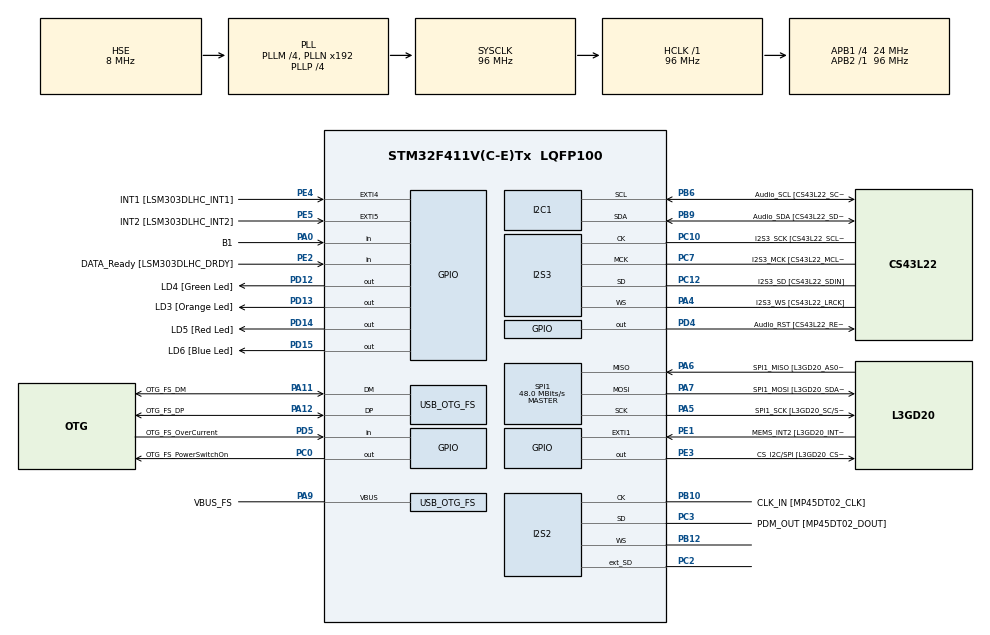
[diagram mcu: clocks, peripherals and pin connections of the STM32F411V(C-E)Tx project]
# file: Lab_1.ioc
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I2S2.AudioFreq=I2S_AUDIOFREQ_96K
I2S2.ErrorAudioFreq=0.15 %
I2S2.FullDuplexMode=I2S_FULLDUPLEXMODE_ENABLE
I2S2.Instance=SPI$Index
I2S2.RealAudioFreq=96.153 KHz
I2S2.VirtualMode=I2S_MODE_MASTER
I2S3.AudioFreq=I2S_AUDIOFREQ_96K
I2S3.ErrorAudioFreq=-6.99 %
I2S3.FullDuplexMode=I2S_FULLDUPLEXMODE_DISABLE
I2S3.Instance=SPI$Index
I2S3.RealAudioFreq=89.285 KHz
I2S3.VirtualMode=I2S_MODE_MASTER
Mcu.Family=STM32F4
Mcu.Name=STM32F411V(C-E)Tx
Mcu.Package=LQFP100
NVIC.OTG_FS_IRQn=true\:0\:0\:false\:false\:true\:true\:true\:true
NVIC.PriorityGroup=NVIC_PRIORITYGROUP_0
PA0-WKUP.GPIO_Label=B1
PA0-WKUP.Signal=GPIO_Input
PA10.GPIO_Label=OTG_FS_ID
PA10.Signal=USB_OTG_FS_ID
PA11.GPIO_Label=OTG_FS_DM
PA11.Mode=Host_Only
PA11.Signal=USB_OTG_FS_DM
PA12.GPIO_Label=OTG_FS_DP
PA12.Mode=Host_Only
PA12.Signal=USB_OTG_FS_DP
PA13.GPIO_Label=SWDIO
PA13.Mode=Serial_Wire
PA13.Signal=SYS_JTMS-SWDIO
PA14.GPIO_Label=SWCLK
PA14.Mode=Serial_Wire
PA14.Signal=SYS_JTCK-SWCLK
PA4.GPIO_Label=I2S3_WS [CS43L22_LRCK]
PA4.GPIO_Mode=GPIO_MODE_AF_PP
PA4.GPIO_PuPd=GPIO_NOPULL
PA4.GPIO_Speed=GPIO_SPEED_FREQ_LOW
PA4.Mode=Half_Duplex_Master
PA4.Signal=I2S3_WS
PA5.GPIO_Label=SPI1_SCK [L3GD20_SC/SPC]
PA5.Mode=Full_Duplex_Master
PA5.Signal=SPI1_SCK
PA6.GPIO_Label=SPI1_MISO [L3GD20_AS0/SDO]
PA6.Mode=Full_Duplex_Master
PA6.Signal=SPI1_MISO
PA7.GPIO_Label=SPI1_MOSI [L3GD20_SDA/SDI/SDO]
PA7.Mode=Full_Duplex_Master
PA7.Signal=SPI1_MOSI
PA9.GPIO_Label=VBUS_FS
PA9.Mode=Activate_VBUS
PA9.Signal=USB_OTG_FS_VBUS
PB10.GPIO_Label=CLK_IN [MP45DT02_CLK]
PB10.Mode=Full_Duplex_Master
PB10.Signal=I2S2_CK
PB12.Mode=Full_Duplex_Master
PB12.Signal=I2S2_WS
PB3.GPIO_Label=SWO
PB3.Signal=SYS_JTDO-SWO
PB6.GPIO_Label=Audio_SCL [CS43L22_SCL]
PB6.GPIO_Mode=GPIO_MODE_AF_OD
PB6.GPIO_Pu=GPIO_PULLUP
PB6.GPIO_PuPd=GPIO_NOPULL
PB6.GPIO_Speed=GPIO_SPEED_FREQ_LOW
PB6.Mode=I2C
PB6.Signal=I2C1_SCL
PB9.GPIO_Label=Audio_SDA [CS43L22_SDA]
PB9.GPIO_Mode=GPIO_MODE_AF_OD
PB9.GPIO_Pu=GPIO_PULLUP
PB9.GPIO_PuPd=GPIO_NOPULL
PB9.GPIO_Speed=GPIO_SPEED_FREQ_LOW
PB9.Mode=I2C
PB9.Signal=I2C1_SDA
PC0.GPIO_Label=OTG_FS_PowerSwitchOn
PC0.PinState=GPIO_PIN_SET
PC0.Signal=GPIO_Output
PC10.GPIO_Label=I2S3_SCK [CS43L22_SCLK]
PC10.GPIO_Mode=GPIO_MODE_AF_PP
PC10.GPIO_PuPd=GPIO_NOPULL
PC10.GPIO_Speed=GPIO_SPEED_FREQ_LOW
PC10.Mode=Half_Duplex_Master
PC10.Signal=I2S3_CK
PC12.GPIO_Label=I2S3_SD [CS43L22_SDIN]
PC12.GPIO_Mode=GPIO_MODE_AF_PP
PC12.GPIO_PuPd=GPIO_NOPULL
PC12.GPIO_Speed=GPIO_SPEED_FREQ_LOW
PC12.Mode=Half_Duplex_Master
PC12.Signal=I2S3_SD
PC14-OSC32_IN.GPIO_Label=PC14-OSC32_IN
PC14-OSC32_IN.Signal=RCC_OSC32_IN
PC15-OSC32_OUT.GPIO_Label=PC15-OSC32_OUT
PC15-OSC32_OUT.Signal=RCC_OSC32_OUT
PC2.Mode=Full_Duplex_Master
PC2.Signal=I2S2_ext_SD
PC3.GPIO_Label=PDM_OUT [MP45DT02_DOUT]
PC3.Mode=Full_Duplex_Master
PC3.Signal=I2S2_SD
PC7.GPIO_Label=I2S3_MCK [CS43L22_MCLK]
PC7.GPIO_Mode=GPIO_MODE_AF_PP
PC7.GPIO_PuPd=GPIO_NOPULL
PC7.GPIO_Speed=GPIO_SPEED_FREQ_LOW
PC7.Mode=Master_Clock_Activated
PC7.Signal=I2S3_MCK
PD12.GPIO_Label=LD4 [Green Led]
PD12.GPIO_PuPd=GPIO_NOPULL
PD12.GPIO_Speed=GPIO_SPEED_FREQ_LOW
PD12.Signal=GPIO_Output
PD13.GPIO_Label=LD3 [Orange Led]
PD13.GPIO_PuPd=GPIO_NOPULL
PD13.GPIO_Speed=GPIO_SPEED_FREQ_LOW
PD13.Signal=GPIO_Output
PD14.GPIO_Label=LD5 [Red Led]
PD14.GPIO_PuPd=GPIO_NOPULL
PD14.GPIO_Speed=GPIO_SPEED_FREQ_LOW
PD14.Signal=GPIO_Output
PD15.GPIO_Label=LD6 [Blue Led]
PD15.GPIO_PuPd=GPIO_NOPULL
PD15.GPIO_Speed=GPIO_SPEED_FREQ_LOW
PD15.Signal=GPIO_Output
PD4.GPIO_Label=Audio_RST [CS43L22_RESET]
PD4.Signal=GPIO_Output
PD5.GPIO_Label=OTG_FS_OverCurrent
PD5.Signal=GPIO_Input
PE1.GPIO_Label=MEMS_INT2 [L3GD20_INT2]
PE1.GPIO_ModeDefaultEXTI=GPIO_MODE_EVT_RISING
PE1.Signal=GPXTI1
PE2.GPIO_Label=DATA_Ready [LSM303DLHC_DRDY]
PE2.Signal=GPIO_Input
PE3.GPIO_Label=CS_I2C/SPI [L3GD20_CS_I2C/SPI]
PE3.Signal=GPIO_Output
PE4.GPIO_Label=INT1 [LSM303DLHC_INT1]
PE4.GPIO_ModeDefaultEXTI=GPIO_MODE_EVT_RISING
PE4.Signal=GPXTI4
PE5.GPIO_Label=INT2 [LSM303DLHC_INT2]
PE5.GPIO_ModeDefaultEXTI=GPIO_MODE_EVT_RISING
PE5.Signal=GPXTI5
PH0\ -\ OSC_IN.GPIO_Label=PH0-OSC_IN
PH0\ -\ OSC_IN.Mode=HSE-External-Oscillator
PH0\ -\ OSC_IN.Signal=RCC_OSC_IN
PH1\ -\ OSC_OUT.GPIO_Label=PH1-OSC_OUT
PH1\ -\ OSC_OUT.Mode=HSE-External-Oscillator
PH1\ -\ OSC_OUT.Signal=RCC_OSC_OUT
ProjectManager.HeapSize=0x200
ProjectManager.StackSize=0x400
ProjectManager.TargetToolchain=STM32CubeIDE
RCC.48MHZClocksFreq_Value=48000000
RCC.AHBFreq_Value=96000000
RCC.APB1CLKDivider=RCC_HCLK_DIV4
RCC.APB1Freq_Value=24000000
RCC.APB1TimFreq_Value=48000000
RCC.APB2Freq_Value=96000000
RCC.APB2TimFreq_Value=96000000
RCC.CortexFreq_Value=96000000
RCC.HCLKFreq_Value=96000000
RCC.HSE_VALUE=8000000
RCC.HSI_VALUE=16000000
RCC.LSE_VALUE=32768
RCC.PLLI2SM=5
RCC.PLLI2SN=200
RCC.PLLM=4
RCC.PLLP=RCC_PLLP_DIV4
RCC.PLLQ=8
RCC.SYSCLKFreq_VALUE=96000000
RCC.SYSCLKSource=RCC_SYSCLKSOURCE_PLLCLK
RCC.VCOOutputFreq_Value=384000000
SPI1.BaudRatePrescaler=SPI_BAUDRATEPRESCALER_2
SPI1.CalculateBaudRate=48.0 MBits/s
SPI1.Direction=SPI_DIRECTION_2LINES
SPI1.Mode=SPI_MODE_MASTER
SPI1.VirtualType=VM_MASTER
USB_HOST.BSP.number=1
USB_HOST.USBH_HandleTypeDef=hUsbHostFS
USB_HOST.VirtualModeFS=Cdc
USB_HOST0.BSP.STBoard=false
USB_HOST0.BSP.api=Unknown
USB_HOST0.BSP.instance=PC0
USB_HOST0.BSP.ip=GPIO
USB_HOST0.BSP.mode=Output
USB_HOST0.BSP.name=Drive_VBUS_FS
USB_HOST0.BSP.solution=PC0
USB_OTG_FS.VirtualMode=Host_Only
USB_OTG_FS.phy_itface=HCD_PHY_EMBEDDED
VP_USB_HOST_VS_USB_HOST_CDC_FS.Mode=CDC_FS
board=STM32F411E-DISCO

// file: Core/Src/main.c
/* USER CODE BEGIN Header */
/**
  ******************************************************************************
  * @file           : main.c
  * @brief          : Main program body
  ******************************************************************************
  * @attention
  *
  * Copyright (c) 2023 STMicroelectronics.
  * All rights reserved.
  *
  * This software is licensed under terms that can be found in the LICENSE file
  * in the root directory of this software component.
  * If no LICENSE file comes with this software, it is provided AS-IS.
  *
  ******************************************************************************
  */
/* USER CODE END Header */
#include "main.h"
#include "usb_host.h"

/* USER CODE BEGIN Includes */
#include "arm_math.h"
#include <inttypes.h>
/* USER CODE END Includes */

/* USER CODE BEGIN PM */
#define ITM_Port32(n) (*((volatile unsigned long *)(0xE0000000+4*n)))
/* USER CODE END PM */

I2C_HandleTypeDef hi2c1;

I2S_HandleTypeDef hi2s2;
I2S_HandleTypeDef hi2s3;

SPI_HandleTypeDef hspi1;

/* USER CODE BEGIN PV */
/* This is the start address of where we are going to put our input data */
#define DATA_START_ADDRESS	0x08020000

/* For this lab, we should know in advance how many samples we have to process... */
#define NUMBER_OF_SAMPLES	22050

/* This is a pointer to our input data */
float32_t* data = DATA_START_ADDRESS;
//uint16_t* data = DATA_START_ADDRESS;

/* Here are our filter taps (as float32_t) */
static float32_t filter_taps[31] = {
  -0.004289844297235351,
  -0.00014156432081732112,
  -0.0036201686224482756,
  0.004827257985150652,
  0.0036155531164272516,
  0.020675517860072025,
  0.02402285521584296,
  0.051424412549522944,
  0.05939430591101754,
  0.09527637902148803,
  0.10443208231700706,
  0.14294541181873402,
  0.14707868991005837,
  0.18028398272481666,
  0.17316624396732433,
  0.19445415344945507,
  0.17316624396732433,
  0.18028398272481666,
  0.14707868991005837,
  0.14294541181873402,
  0.10443208231700706,
  0.09527637902148803,
  0.05939430591101754,
  0.051424412549522944,
  0.02402285521584296,
  0.020675517860072025,
  0.0036155531164272516,
  0.004827257985150652,
  -0.0036201686224482756,
  -0.00014156432081732112,
  -0.004289844297235351
};

/* Here are our filter taps (as int16_t or q15_t) */
//static int16_t filter_taps[31] = {-141, -5, -119, 158, 118, 677, 787, 1685, 1946, 3122, 3422, 4684, 4819, 5908, 5674, 6372, 5674, 5908, 4819, 4684, 3422, 3122, 1946, 1685, 787, 677, 118, 158, -119, -5, -141};

/* let's have our history and output arrays defined somewhere */
float32_t history[31];
float32_t newdata[NUMBER_OF_SAMPLES];
//uint16_t history[31];
//uint16_t newdata[NUMBER_OF_SAMPLES];
/* USER CODE END PV */

void SystemClock_Config(void);
void PeriphCommonClock_Config(void);
static void MX_GPIO_Init(void);
static void MX_I2C1_Init(void);
static void MX_I2S2_Init(void);
static void MX_I2S3_Init(void);
static void MX_SPI1_Init(void);
void MX_USB_HOST_Process(void);

/* USER CODE BEGIN PFP */
/* this the function prototype for initializing the filter (specifically the history) */
void FloatFilterInit(void);
void FixedFilterInit(void);

/* This is the function prototype that does the filtering given a new sample.
 * The filter should shuffle the history values (which it can because history is global
 * This function should return a new output
 */
float32_t FloatFilterGet(float new_sample);
uint16_t FixedFilterGet(uint16_t new_sample);
/* USER CODE END PFP */

/* USER CODE BEGIN 0 */
int _write(int file, char* ptr, int len)
{
	int DataIdx;
	for (DataIdx = 0; DataIdx < len; DataIdx++)
	{
		ITM_SendChar(*ptr++);
	}
	return len;
}

void BasicLoopTest()
{
  for(uint32_t i=0; i < 2000000; i++);
}

void FloatingExperiment()
{
  float a = 10102.1;
  float b = 0.99;
  float c = a * b;
}

// Q1.15 fixed point numbers
void FixedExperiment()
{
  int16_t a = 0x4000;
  int16_t b = 0x1000;
  int16_t c = ((int32_t)a * (int32_t)b) >> 15;
}

void CMSISExperiment(void)
{
	float32_t float_array[10] = {-1, 0.1, 0.25, 0.99, 0, 100.15, 2, 8, 0.9, -0.75};
	q15_t q15_array[10] = {};

	arm_float_to_q15(float_array, q15_array, 10);
}

void FloatFilterInit(void)
{
	for (int i = 30; i > 0; i--)
	{
		history[i] = *data;
		data++;
	}

	return;
}

/* here is the function that does the filtering */
float32_t FloatFilterGet(float32_t newsample) {
	// set the new sample as the head
	history[0] = newsample;

	float32_t accumulator = 0;
	// set up and do our convolution
	for(int i = 0; i < 31; i++)
	{
		accumulator += history[i] * filter_taps[i];
	}

	// shuffle the history along for the next one?
	for(int i = 30; i > 0; i--)
	{
		history[i] = history[i-1];
	}

	return accumulator;
}

void FixedFilterInit(){
	for (int i = 30; i > 0; i--)
		{
			history[i] = *data;
			data++;
		}
}

uint16_t FixedFilterGet(uint16_t newSample){
	// set the new sample as the head
	history[0] = newSample;
	uint32_t accumulator = 0;
	// set up and do our convolution
	for(int i = 0; i < 31; i++)
	{
		accumulator += (uint32_t)history[i] * (uint32_t)filter_taps[i];
	}

	accumulator = accumulator >> 15;

	// shuffle the history along for the next one?
	for(int i = 30; i > 0; i--)
	{
		history[i] = history[i-1];
	}

	return accumulator;
}
/* USER CODE END 0 */

int main(void)
{

  /* MCU Configuration--------------------------------------------------------*/

  /* Reset of all peripherals, Initializes the Flash interface and the Systick. */
  HAL_Init();

  /* Configure the system clock */
  SystemClock_Config();

/* Configure the peripherals common clocks */
  PeriphCommonClock_Config();

  /* Initialize all configured peripherals */
  MX_GPIO_Init();
  MX_I2C1_Init();
  MX_I2S2_Init();
  MX_I2S3_Init();
  MX_SPI1_Init();
  MX_USB_HOST_Init();
  /* USER CODE BEGIN 2 */
//  printf("Andy Smit, Colton Giesbrecht, 2023-03-02, Why did the DSP Engineer get stuck in the revolving door? Because he couldn't stop convolving!\n");
  HAL_SuspendTick();

  //ITM_Port32(31) = 1;
  //CMSISExperiment();
  //ITM_Port32(31) = 2;
  FloatFilterInit();
  //FixedFilterInit();
  ITM_Port32(31) = 1;
  for(int i=31; i < NUMBER_OF_SAMPLES; i++)
  {
	  newdata[i] = FloatFilterGet(*(data++));
	  //newdata[i] = FixedFilterGet(*(data)++);
  }
  ITM_Port32(31) = 2;

  HAL_GPIO_TogglePin(LD3_GPIO_Port, LD3_Pin);

  /* USER CODE END 2 */

  /* Infinite loop */
  while (1)
  {
    MX_USB_HOST_Process();

  }
}

void SystemClock_Config(void)
{
  RCC_OscInitTypeDef RCC_OscInitStruct = {0};
  RCC_ClkInitTypeDef RCC_ClkInitStruct = {0};

  /** Configure the main internal regulator output voltage
  */
  __HAL_RCC_PWR_CLK_ENABLE();
  __HAL_PWR_VOLTAGESCALING_CONFIG(PWR_REGULATOR_VOLTAGE_SCALE1);

  /** Initializes the RCC Oscillators according to the specified parameters
  * in the RCC_OscInitTypeDef structure.
  */
  RCC_OscInitStruct.OscillatorType = RCC_OSCILLATORTYPE_HSE;
  RCC_OscInitStruct.HSEState = RCC_HSE_ON;
  RCC_OscInitStruct.PLL.PLLState = RCC_PLL_ON;
  RCC_OscInitStruct.PLL.PLLSource = RCC_PLLSOURCE_HSE;
  RCC_OscInitStruct.PLL.PLLM = 4;
  RCC_OscInitStruct.PLL.PLLN = 192;
  RCC_OscInitStruct.PLL.PLLP = RCC_PLLP_DIV4;
  RCC_OscInitStruct.PLL.PLLQ = 8;
  if (HAL_RCC_OscConfig(&RCC_OscInitStruct) != HAL_OK)
  {
    Error_Handler();
  }

  /** Initializes the CPU, AHB and APB buses clocks
  */
  RCC_ClkInitStruct.ClockType = RCC_CLOCKTYPE_HCLK|RCC_CLOCKTYPE_SYSCLK
                              |RCC_CLOCKTYPE_PCLK1|RCC_CLOCKTYPE_PCLK2;
  RCC_ClkInitStruct.SYSCLKSource = RCC_SYSCLKSOURCE_PLLCLK;
  RCC_ClkInitStruct.AHBCLKDivider = RCC_SYSCLK_DIV1;
  RCC_ClkInitStruct.APB1CLKDivider = RCC_HCLK_DIV4;
  RCC_ClkInitStruct.APB2CLKDivider = RCC_HCLK_DIV1;

  if (HAL_RCC_ClockConfig(&RCC_ClkInitStruct, FLASH_LATENCY_3) != HAL_OK)
  {
    Error_Handler();
  }
}

void PeriphCommonClock_Config(void)
{
  RCC_PeriphCLKInitTypeDef PeriphClkInitStruct = {0};

  /** Initializes the peripherals clock
  */
  PeriphClkInitStruct.PeriphClockSelection = RCC_PERIPHCLK_I2S;
  PeriphClkInitStruct.PLLI2S.PLLI2SN = 200;
  PeriphClkInitStruct.PLLI2S.PLLI2SM = 5;
  PeriphClkInitStruct.PLLI2S.PLLI2SR = 2;
  if (HAL_RCCEx_PeriphCLKConfig(&PeriphClkInitStruct) != HAL_OK)
  {
    Error_Handler();
  }
}

static void MX_I2C1_Init(void)
{

  hi2c1.Instance = I2C1;
  hi2c1.Init.ClockSpeed = 100000;
  hi2c1.Init.DutyCycle = I2C_DUTYCYCLE_2;
  hi2c1.Init.OwnAddress1 = 0;
  hi2c1.Init.AddressingMode = I2C_ADDRESSINGMODE_7BIT;
  hi2c1.Init.DualAddressMode = I2C_DUALADDRESS_DISABLE;
  hi2c1.Init.OwnAddress2 = 0;
  hi2c1.Init.GeneralCallMode = I2C_GENERALCALL_DISABLE;
  hi2c1.Init.NoStretchMode = I2C_NOSTRETCH_DISABLE;
  if (HAL_I2C_Init(&hi2c1) != HAL_OK)
  {
    Error_Handler();
  }

}

static void MX_I2S2_Init(void)
{

  hi2s2.Instance = SPI2;
  hi2s2.Init.Mode = I2S_MODE_MASTER_TX;
  hi2s2.Init.Standard = I2S_STANDARD_PHILIPS;
  hi2s2.Init.DataFormat = I2S_DATAFORMAT_16B;
  hi2s2.Init.MCLKOutput = I2S_MCLKOUTPUT_DISABLE;
  hi2s2.Init.AudioFreq = I2S_AUDIOFREQ_96K;
  hi2s2.Init.CPOL = I2S_CPOL_LOW;
  hi2s2.Init.ClockSource = I2S_CLOCK_PLL;
  hi2s2.Init.FullDuplexMode = I2S_FULLDUPLEXMODE_ENABLE;
  if (HAL_I2S_Init(&hi2s2) != HAL_OK)
  {
    Error_Handler();
  }

}

static void MX_I2S3_Init(void)
{

  hi2s3.Instance = SPI3;
  hi2s3.Init.Mode = I2S_MODE_MASTER_TX;
  hi2s3.Init.Standard = I2S_STANDARD_PHILIPS;
  hi2s3.Init.DataFormat = I2S_DATAFORMAT_16B;
  hi2s3.Init.MCLKOutput = I2S_MCLKOUTPUT_ENABLE;
  hi2s3.Init.AudioFreq = I2S_AUDIOFREQ_96K;
  hi2s3.Init.CPOL = I2S_CPOL_LOW;
  hi2s3.Init.ClockSource = I2S_CLOCK_PLL;
  hi2s3.Init.FullDuplexMode = I2S_FULLDUPLEXMODE_DISABLE;
  if (HAL_I2S_Init(&hi2s3) != HAL_OK)
  {
    Error_Handler();
  }

}

static void MX_SPI1_Init(void)
{

  /* SPI1 parameter configuration*/
  hspi1.Instance = SPI1;
  hspi1.Init.Mode = SPI_MODE_MASTER;
  hspi1.Init.Direction = SPI_DIRECTION_2LINES;
  hspi1.Init.DataSize = SPI_DATASIZE_8BIT;
  hspi1.Init.CLKPolarity = SPI_POLARITY_LOW;
  hspi1.Init.CLKPhase = SPI_PHASE_1EDGE;
  hspi1.Init.NSS = SPI_NSS_SOFT;
  hspi1.Init.BaudRatePrescaler = SPI_BAUDRATEPRESCALER_2;
  hspi1.Init.FirstBit = SPI_FIRSTBIT_MSB;
  hspi1.Init.TIMode = SPI_TIMODE_DISABLE;
  hspi1.Init.CRCCalculation = SPI_CRCCALCULATION_DISABLE;
  hspi1.Init.CRCPolynomial = 10;
  if (HAL_SPI_Init(&hspi1) != HAL_OK)
  {
    Error_Handler();
  }

}

static void MX_GPIO_Init(void)
{
  GPIO_InitTypeDef GPIO_InitStruct = {0};

  /* GPIO Ports Clock Enable */
  __HAL_RCC_GPIOE_CLK_ENABLE();
  __HAL_RCC_GPIOC_CLK_ENABLE();
  __HAL_RCC_GPIOH_CLK_ENABLE();
  __HAL_RCC_GPIOA_CLK_ENABLE();
  __HAL_RCC_GPIOB_CLK_ENABLE();
  __HAL_RCC_GPIOD_CLK_ENABLE();

  /*Configure GPIO pin Output Level */
  HAL_GPIO_WritePin(CS_I2C_SPI_GPIO_Port, CS_I2C_SPI_Pin, GPIO_PIN_RESET);

  /*Configure GPIO pin Output Level */
  HAL_GPIO_WritePin(OTG_FS_PowerSwitchOn_GPIO_Port, OTG_FS_PowerSwitchOn_Pin, GPIO_PIN_SET);

  /*Configure GPIO pin Output Level */
  HAL_GPIO_WritePin(GPIOD, LD4_Pin|LD3_Pin|LD5_Pin|LD6_Pin
                          |Audio_RST_Pin, GPIO_PIN_RESET);

  /*Configure GPIO pin : DATA_Ready_Pin */
  GPIO_InitStruct.Pin = DATA_Ready_Pin;
  GPIO_InitStruct.Mode = GPIO_MODE_INPUT;
  GPIO_InitStruct.Pull = GPIO_NOPULL;
  HAL_GPIO_Init(DATA_Ready_GPIO_Port, &GPIO_InitStruct);

  /*Configure GPIO pin : CS_I2C_SPI_Pin */
  GPIO_InitStruct.Pin = CS_I2C_SPI_Pin;
  GPIO_InitStruct.Mode = GPIO_MODE_OUTPUT_PP;
  GPIO_InitStruct.Pull = GPIO_NOPULL;
  GPIO_InitStruct.Speed = GPIO_SPEED_FREQ_LOW;
  HAL_GPIO_Init(CS_I2C_SPI_GPIO_Port, &GPIO_InitStruct);

  /*Configure GPIO pins : INT1_Pin INT2_Pin MEMS_INT2_Pin */
  GPIO_InitStruct.Pin = INT1_Pin|INT2_Pin|MEMS_INT2_Pin;
  GPIO_InitStruct.Mode = GPIO_MODE_EVT_RISING;
  GPIO_InitStruct.Pull = GPIO_NOPULL;
  HAL_GPIO_Init(GPIOE, &GPIO_InitStruct);

  /*Configure GPIO pin : OTG_FS_PowerSwitchOn_Pin */
  GPIO_InitStruct.Pin = OTG_FS_PowerSwitchOn_Pin;
  GPIO_InitStruct.Mode = GPIO_MODE_OUTPUT_PP;
  GPIO_InitStruct.Pull = GPIO_NOPULL;
  GPIO_InitStruct.Speed = GPIO_SPEED_FREQ_LOW;
  HAL_GPIO_Init(OTG_FS_PowerSwitchOn_GPIO_Port, &GPIO_InitStruct);

  /*Configure GPIO pin : B1_Pin */
  GPIO_InitStruct.Pin = B1_Pin;
  GPIO_InitStruct.Mode = GPIO_MODE_INPUT;
  GPIO_InitStruct.Pull = GPIO_NOPULL;
  HAL_GPIO_Init(B1_GPIO_Port, &GPIO_InitStruct);

  /*Configure GPIO pins : LD4_Pin LD3_Pin LD5_Pin LD6_Pin
                           Audio_RST_Pin */
  GPIO_InitStruct.Pin = LD4_Pin|LD3_Pin|LD5_Pin|LD6_Pin
                          |Audio_RST_Pin;
  GPIO_InitStruct.Mode = GPIO_MODE_OUTPUT_PP;
  GPIO_InitStruct.Pull = GPIO_NOPULL;
  GPIO_InitStruct.Speed = GPIO_SPEED_FREQ_LOW;
  HAL_GPIO_Init(GPIOD, &GPIO_InitStruct);

  /*Configure GPIO pin : OTG_FS_OverCurrent_Pin */
  GPIO_InitStruct.Pin = OTG_FS_OverCurrent_Pin;
  GPIO_InitStruct.Mode = GPIO_MODE_INPUT;
  GPIO_InitStruct.Pull = GPIO_NOPULL;
  HAL_GPIO_Init(OTG_FS_OverCurrent_GPIO_Port, &GPIO_InitStruct);

}

void Error_Handler(void)
{
  __disable_irq();
  while (1)
  {
  }
}
